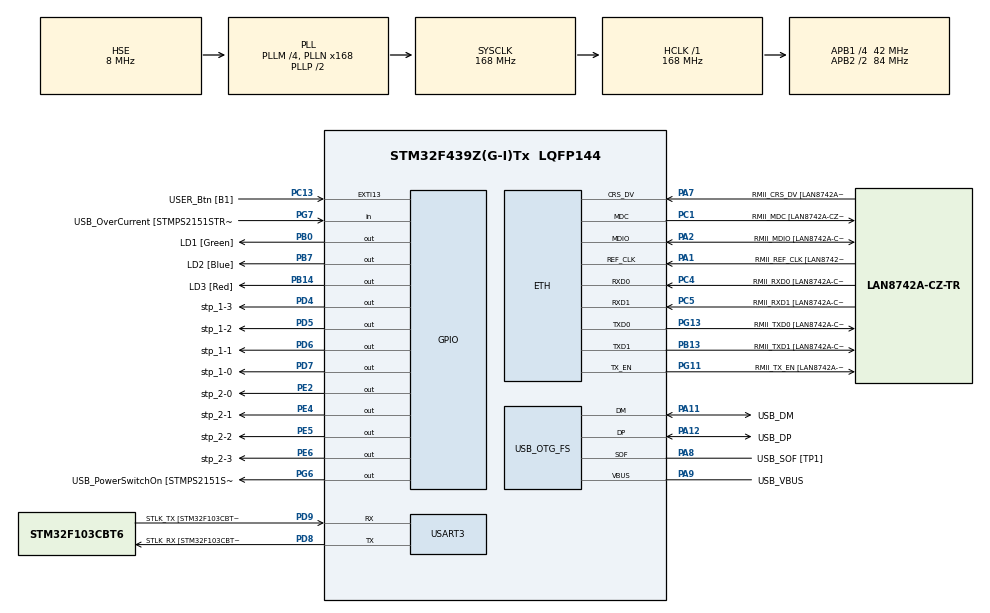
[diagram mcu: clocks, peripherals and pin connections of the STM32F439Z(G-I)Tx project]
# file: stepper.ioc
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Dma.Request0=USART3_RX
Dma.USART3_RX.0.Direction=DMA_PERIPH_TO_MEMORY
Dma.USART3_RX.0.FIFOMode=DMA_FIFOMODE_DISABLE
Dma.USART3_RX.0.Instance=DMA1_Stream1
Dma.USART3_RX.0.MemDataAlignment=DMA_MDATAALIGN_BYTE
Dma.USART3_RX.0.MemInc=DMA_MINC_ENABLE
Dma.USART3_RX.0.Mode=DMA_CIRCULAR
Dma.USART3_RX.0.PeriphDataAlignment=DMA_PDATAALIGN_BYTE
Dma.USART3_RX.0.PeriphInc=DMA_PINC_DISABLE
Dma.USART3_RX.0.Priority=DMA_PRIORITY_LOW
ETH.MediaInterface=HAL_ETH_RMII_MODE
ETH.PHY_Name=LAN8742A_PHY_ADDRESS
ETH.PHY_Value=0
ETH.PhyAddress=0
Mcu.Family=STM32F4
Mcu.Name=STM32F439Z(G-I)Tx
Mcu.Package=LQFP144
NVIC.DMA1_Stream1_IRQn=true\:0\:0\:false\:false\:true\:false\:true\:true
NVIC.PriorityGroup=NVIC_PRIORITYGROUP_4
NVIC.TIM6_DAC_IRQn=true\:0\:0\:false\:false\:true\:true\:true\:true
NVIC.TIM7_IRQn=true\:0\:0\:false\:false\:true\:true\:true\:true
PA1.GPIO_Label=RMII_REF_CLK [LAN8742A-CZ-TR_REFCLK0]
PA1.Mode=RMII
PA1.Signal=ETH_REF_CLK
PA10.GPIO_Label=USB_ID
PA10.Signal=USB_OTG_FS_ID
PA11.GPIO_Label=USB_DM
PA11.Mode=Device_Only
PA11.Signal=USB_OTG_FS_DM
PA12.GPIO_Label=USB_DP
PA12.Mode=Device_Only
PA12.Signal=USB_OTG_FS_DP
PA13.GPIO_Label=TMS
PA13.Mode=Serial_Wire
PA13.Signal=SYS_JTMS-SWDIO
PA14.GPIO_Label=TCK
PA14.Mode=Serial_Wire
PA14.Signal=SYS_JTCK-SWCLK
PA2.GPIO_Label=RMII_MDIO [LAN8742A-CZ-TR_MDIO]
PA2.Mode=RMII
PA2.Signal=ETH_MDIO
PA7.GPIO_Label=RMII_CRS_DV [LAN8742A-CZ-TR_CRS_DV]
PA7.Mode=RMII
PA7.Signal=ETH_CRS_DV
PA8.GPIO_Label=USB_SOF [TP1]
PA8.Mode=Activate_SOF_FS
PA8.Signal=USB_OTG_FS_SOF
PA9.GPIO_Label=USB_VBUS
PA9.Mode=Activate_VBUS
PA9.Signal=USB_OTG_FS_VBUS
PB0.GPIO_Label=LD1 [Green]
PB0.Signal=GPIO_Output
PB13.GPIO_Label=RMII_TXD1 [LAN8742A-CZ-TR_TXD1]
PB13.Mode=RMII
PB13.Signal=ETH_TXD1
PB14.GPIO_Label=LD3 [Red]
PB14.Signal=GPIO_Output
PB7.GPIO_Label=LD2 [Blue]
PB7.Signal=GPIO_Output
PC1.GPIO_Label=RMII_MDC [LAN8742A-CZ-TR_MDC]
PC1.Mode=RMII
PC1.Signal=ETH_MDC
PC13.GPIO_Label=USER_Btn [B1]
PC13.Signal=GPXTI13
PC14/OSC32_IN.Mode=LSE-External-Oscillator
PC14/OSC32_IN.Signal=RCC_OSC32_IN
PC15/OSC32_OUT.Mode=LSE-External-Oscillator
PC15/OSC32_OUT.Signal=RCC_OSC32_OUT
PC4.GPIO_Label=RMII_RXD0 [LAN8742A-CZ-TR_RXD0]
PC4.Mode=RMII
PC4.Signal=ETH_RXD0
PC5.GPIO_Label=RMII_RXD1 [LAN8742A-CZ-TR_RXD1]
PC5.Mode=RMII
PC5.Signal=ETH_RXD1
PD4.GPIO_Label=stp_1-3
PD4.Signal=GPIO_Output
PD5.GPIO_Label=stp_1-2
PD5.Signal=GPIO_Output
PD6.GPIO_Label=stp_1-1
PD6.Signal=GPIO_Output
PD7.GPIO_Label=stp_1-0
PD7.Signal=GPIO_Output
PD8.GPIO_Label=STLK_RX [STM32F103CBT6_PA3]
PD8.Mode=Asynchronous
PD8.Signal=USART3_TX
PD9.GPIO_Label=STLK_TX [STM32F103CBT6_PA2]
PD9.Mode=Asynchronous
PD9.Signal=USART3_RX
PE2.GPIO_Label=stp_2-0
PE2.Signal=GPIO_Output
PE4.GPIO_Label=stp_2-1
PE4.Signal=GPIO_Output
PE5.GPIO_Label=stp_2-2
PE5.Signal=GPIO_Output
PE6.GPIO_Label=stp_2-3
PE6.Signal=GPIO_Output
PG11.GPIO_Label=RMII_TX_EN [LAN8742A-CZ-TR_TXEN]
PG11.Mode=RMII
PG11.Signal=ETH_TX_EN
PG13.GPIO_Label=RMII_TXD0 [LAN8742A-CZ-TR_TXD0]
PG13.Mode=RMII
PG13.Signal=ETH_TXD0
PG6.GPIO_Label=USB_PowerSwitchOn [STMPS2151STR_EN]
PG6.Signal=GPIO_Output
PG7.GPIO_Label=USB_OverCurrent [STMPS2151STR_FAULT]
PG7.Signal=GPIO_Input
PH0/OSC_IN.GPIO_Label=MCO [STM32F103CBT6_PA8]
PH0/OSC_IN.Mode=HSE-External-Clock-Source
PH0/OSC_IN.Signal=RCC_OSC_IN
PH1/OSC_OUT.Mode=HSE-External-Clock-Source
PH1/OSC_OUT.Signal=RCC_OSC_OUT
ProjectManager.HeapSize=0x200
ProjectManager.StackSize=0x400
ProjectManager.TargetToolchain=STM32CubeIDE
RCC.48MHZClocksFreq_Value=48000000
RCC.AHBFreq_Value=168000000
RCC.APB1CLKDivider=RCC_HCLK_DIV4
RCC.APB1Freq_Value=42000000
RCC.APB1TimFreq_Value=84000000
RCC.APB2CLKDivider=RCC_HCLK_DIV2
RCC.APB2Freq_Value=84000000
RCC.APB2TimFreq_Value=168000000
RCC.CortexFreq_Value=168000000
RCC.HCLKFreq_Value=168000000
RCC.HSE_VALUE=8000000
RCC.HSI_VALUE=16000000
RCC.PLLM=4
RCC.PLLMUL=RCC_PLL_MUL9
RCC.PLLN=168
RCC.PLLQ=7
RCC.PRESCALERUSB=RCC_USBCLKSOURCE_PLL_DIV1_5
RCC.SYSCLKFreq_VALUE=168000000
RCC.SYSCLKSource=RCC_SYSCLKSOURCE_PLLCLK
RCC.SYSCLKSourceVirtual=RCC_SYSCLKSOURCE_PLLCLK
RCC.USBFreq_Value=48000000
RCC.VCOOutputFreq_Value=336000000
TIM6.Period=1000-1
TIM6.Prescaler=336-1
TIM7.Period=1000-1
TIM7.Prescaler=336-1
USART3.VirtualMode=VM_ASYNC
USB_OTG_FS.VirtualMode=Device_Only
VP_TIM6_VS_ClockSourceINT.Mode=Enable_Timer
VP_TIM7_VS_ClockSourceINT.Mode=Enable_Timer
board=NUCLEO-F439ZI

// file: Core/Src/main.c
/* USER CODE BEGIN Header */
/**
  ******************************************************************************
  * @file           : main.c
  * @brief          : Main program body
  ******************************************************************************
  * @attention
  *
  * Copyright (c) 2023 STMicroelectronics.
  * All rights reserved.
  *
  * This software is licensed under terms that can be found in the LICENSE file
  * in the root directory of this software component.
  * If no LICENSE file comes with this software, it is provided AS-IS.
  *
  ******************************************************************************
  */
/* USER CODE END Header */
#include "main.h"
#include "string.h"

/* USER CODE BEGIN Includes */
#include "stepper.h"
#include "movements_buffer.h"
#include <math.h>
#include "robot.h"
/* USER CODE END Includes */

ETH_TxPacketConfig TxConfig;
ETH_DMADescTypeDef  DMARxDscrTab[ETH_RX_DESC_CNT]; /* Ethernet Rx DMA Descriptors */
ETH_DMADescTypeDef  DMATxDscrTab[ETH_TX_DESC_CNT]; /* Ethernet Tx DMA Descriptors */

ETH_HandleTypeDef heth;

TIM_HandleTypeDef htim6;
TIM_HandleTypeDef htim7;

UART_HandleTypeDef huart3;
DMA_HandleTypeDef hdma_usart3_rx;

PCD_HandleTypeDef hpcd_USB_OTG_FS;

void SystemClock_Config(void);
static void MX_GPIO_Init(void);
static void MX_DMA_Init(void);
static void MX_ETH_Init(void);
static void MX_USART3_UART_Init(void);
static void MX_USB_OTG_FS_PCD_Init(void);
static void MX_TIM6_Init(void);
static void MX_TIM7_Init(void);

/* USER CODE BEGIN 0 */
#define UART_BUFFER_SIZE 10  // Adjust the buffer size according to your needs

// Circular buffer
uint8_t uart_rx_buffer[UART_BUFFER_SIZE];

movements_buffer_t movements_buffer_1;
movements_buffer_t movements_buffer_2;
/* USER CODE END 0 */

int main(void)
{

  /* MCU Configuration--------------------------------------------------------*/

  /* Reset of all peripherals, Initializes the Flash interface and the Systick. */
  HAL_Init();

  /* Configure the system clock */
  SystemClock_Config();

  /* Initialize all configured peripherals */
  MX_GPIO_Init();
  MX_DMA_Init();
  MX_ETH_Init();
  MX_USART3_UART_Init();
  MX_USB_OTG_FS_PCD_Init();
  MX_TIM6_Init();
  MX_TIM7_Init();

  /* Infinite loop */
  /* USER CODE BEGIN WHILE */
  // Start UART reception with DMA
  HAL_UART_Receive_DMA(&huart3, uart_rx_buffer, UART_BUFFER_SIZE);
  init_buffer(&movements_buffer_1);
  init_buffer(&movements_buffer_2);
  uint8_t value = (uint8_t)movements_buffer_1.counter;
  HAL_UART_Transmit(&huart3,&value, 1, 10);

  ROBOT robot;
  robot.current_theta_1 = 0.0;
  robot.current_theta_2 = 0.0;
  robot.l_1 = 0.08;
  robot.l_2 = 0.10;

  uint8_t direction = 0;
  if(!is_moving(0) && !is_moving(1)){
	  set_cartesian_movement(0.05, 0.05, 0.01, 0.01, 0.05, 0.05);
	  start_all_movements();
  }

  float x_coordinates[] = {0.05, 0.05, 0.1, 0.1};
  float y_coordinates[] = {0.05, 0.1, 0.1, 0.05};
  uint8_t counter = 0;
//	if(!is_moving(1)){
//		set_movement(1, M_PI_2, 1.0, 1.0);
//		start_movement(1);
//	}
  while (1)
  {
    /* USER CODE END WHILE */

    /* USER CODE BEGIN 3 */
//	HAL_GPIO_TogglePin(GPIOB, LD2_Pin);

//	if(!is_moving(0) && !is_moving(1) && !is_empty(&movements_buffer_1) && !is_empty(&movements_buffer_2)){
//		movement_t move = get_movement(&movements_buffer_1);
//		set_movement(0, move.degrees_x10, move.rpm_x10, move.direction);
//		move = get_movement(&movements_buffer_2);
//		set_movement(1, move.degrees_x10, move.rpm_x10, move.direction);
//		start_all_movements();
//	}
//    uint8_t value = (uint8_t)movements_buffer_1.counter;
//    HAL_UART_Transmit(&huart3,&value, 1, 10);
//	if(!is_moving(0) && !is_moving(1)){
//		direction = !direction;
//		if(direction){
//			set_movement(0, -M_PI_2, 1.0, 1.0);
//		}else{
//			set_movement(0, M_PI_2, 1.0, 1.0);
//		}
//		start_movement(0);
//	}
  	if(!is_moving(0) && !is_moving(1)){
		set_cartesian_movement(x_coordinates[counter], y_coordinates[counter], get_stepper_position(0), get_stepper_position(1), 0.1, 0.2);
		start_all_movements();
		counter++;
		if(counter >= 4){
			counter = 0;
		}
  	}
	HAL_Delay(10);
  }
  /* USER CODE END 3 */
}

void SystemClock_Config(void)
{
  RCC_OscInitTypeDef RCC_OscInitStruct = {0};
  RCC_ClkInitTypeDef RCC_ClkInitStruct = {0};

  /** Configure the main internal regulator output voltage
  */
  __HAL_RCC_PWR_CLK_ENABLE();
  __HAL_PWR_VOLTAGESCALING_CONFIG(PWR_REGULATOR_VOLTAGE_SCALE1);

  /** Initializes the RCC Oscillators according to the specified parameters
  * in the RCC_OscInitTypeDef structure.
  */
  RCC_OscInitStruct.OscillatorType = RCC_OSCILLATORTYPE_HSE;
  RCC_OscInitStruct.HSEState = RCC_HSE_BYPASS;
  RCC_OscInitStruct.PLL.PLLState = RCC_PLL_ON;
  RCC_OscInitStruct.PLL.PLLSource = RCC_PLLSOURCE_HSE;
  RCC_OscInitStruct.PLL.PLLM = 4;
  RCC_OscInitStruct.PLL.PLLN = 168;
  RCC_OscInitStruct.PLL.PLLP = RCC_PLLP_DIV2;
  RCC_OscInitStruct.PLL.PLLQ = 7;
  if (HAL_RCC_OscConfig(&RCC_OscInitStruct) != HAL_OK)
  {
    Error_Handler();
  }

  /** Initializes the CPU, AHB and APB buses clocks
  */
  RCC_ClkInitStruct.ClockType = RCC_CLOCKTYPE_HCLK|RCC_CLOCKTYPE_SYSCLK
                              |RCC_CLOCKTYPE_PCLK1|RCC_CLOCKTYPE_PCLK2;
  RCC_ClkInitStruct.SYSCLKSource = RCC_SYSCLKSOURCE_PLLCLK;
  RCC_ClkInitStruct.AHBCLKDivider = RCC_SYSCLK_DIV1;
  RCC_ClkInitStruct.APB1CLKDivider = RCC_HCLK_DIV4;
  RCC_ClkInitStruct.APB2CLKDivider = RCC_HCLK_DIV2;

  if (HAL_RCC_ClockConfig(&RCC_ClkInitStruct, FLASH_LATENCY_5) != HAL_OK)
  {
    Error_Handler();
  }
}

static void MX_ETH_Init(void)
{

   static uint8_t MACAddr[6];

  heth.Instance = ETH;
  MACAddr[0] = 0x00;
  MACAddr[1] = 0x80;
  MACAddr[2] = 0xE1;
  MACAddr[3] = 0x00;
  MACAddr[4] = 0x00;
  MACAddr[5] = 0x00;
  heth.Init.MACAddr = &MACAddr[0];
  heth.Init.MediaInterface = HAL_ETH_RMII_MODE;
  heth.Init.TxDesc = DMATxDscrTab;
  heth.Init.RxDesc = DMARxDscrTab;
  heth.Init.RxBuffLen = 1524;

  if (HAL_ETH_Init(&heth) != HAL_OK)
  {
    Error_Handler();
  }

  memset(&TxConfig, 0 , sizeof(ETH_TxPacketConfig));
  TxConfig.Attributes = ETH_TX_PACKETS_FEATURES_CSUM | ETH_TX_PACKETS_FEATURES_CRCPAD;
  TxConfig.ChecksumCtrl = ETH_CHECKSUM_IPHDR_PAYLOAD_INSERT_PHDR_CALC;
  TxConfig.CRCPadCtrl = ETH_CRC_PAD_INSERT;

}

static void MX_TIM6_Init(void)
{

  TIM_MasterConfigTypeDef sMasterConfig = {0};

  htim6.Instance = TIM6;
  htim6.Init.Prescaler = 336-1;
  htim6.Init.CounterMode = TIM_COUNTERMODE_UP;
  htim6.Init.Period = 1000-1;
  htim6.Init.AutoReloadPreload = TIM_AUTORELOAD_PRELOAD_DISABLE;
  if (HAL_TIM_Base_Init(&htim6) != HAL_OK)
  {
    Error_Handler();
  }
  sMasterConfig.MasterOutputTrigger = TIM_TRGO_RESET;
  sMasterConfig.MasterSlaveMode = TIM_MASTERSLAVEMODE_DISABLE;
  if (HAL_TIMEx_MasterConfigSynchronization(&htim6, &sMasterConfig) != HAL_OK)
  {
    Error_Handler();
  }

}

static void MX_TIM7_Init(void)
{

  TIM_MasterConfigTypeDef sMasterConfig = {0};

  htim7.Instance = TIM7;
  htim7.Init.Prescaler = 336-1;
  htim7.Init.CounterMode = TIM_COUNTERMODE_UP;
  htim7.Init.Period = 1000-1;
  htim7.Init.AutoReloadPreload = TIM_AUTORELOAD_PRELOAD_DISABLE;
  if (HAL_TIM_Base_Init(&htim7) != HAL_OK)
  {
    Error_Handler();
  }
  sMasterConfig.MasterOutputTrigger = TIM_TRGO_RESET;
  sMasterConfig.MasterSlaveMode = TIM_MASTERSLAVEMODE_DISABLE;
  if (HAL_TIMEx_MasterConfigSynchronization(&htim7, &sMasterConfig) != HAL_OK)
  {
    Error_Handler();
  }

}

static void MX_USART3_UART_Init(void)
{

  huart3.Instance = USART3;
  huart3.Init.BaudRate = 115200;
  huart3.Init.WordLength = UART_WORDLENGTH_8B;
  huart3.Init.StopBits = UART_STOPBITS_1;
  huart3.Init.Parity = UART_PARITY_NONE;
  huart3.Init.Mode = UART_MODE_TX_RX;
  huart3.Init.HwFlowCtl = UART_HWCONTROL_NONE;
  huart3.Init.OverSampling = UART_OVERSAMPLING_16;
  if (HAL_UART_Init(&huart3) != HAL_OK)
  {
    Error_Handler();
  }

}

static void MX_USB_OTG_FS_PCD_Init(void)
{

  hpcd_USB_OTG_FS.Instance = USB_OTG_FS;
  hpcd_USB_OTG_FS.Init.dev_endpoints = 4;
  hpcd_USB_OTG_FS.Init.speed = PCD_SPEED_FULL;
  hpcd_USB_OTG_FS.Init.dma_enable = DISABLE;
  hpcd_USB_OTG_FS.Init.phy_itface = PCD_PHY_EMBEDDED;
  hpcd_USB_OTG_FS.Init.Sof_enable = ENABLE;
  hpcd_USB_OTG_FS.Init.low_power_enable = DISABLE;
  hpcd_USB_OTG_FS.Init.lpm_enable = DISABLE;
  hpcd_USB_OTG_FS.Init.vbus_sensing_enable = ENABLE;
  hpcd_USB_OTG_FS.Init.use_dedicated_ep1 = DISABLE;
  if (HAL_PCD_Init(&hpcd_USB_OTG_FS) != HAL_OK)
  {
    Error_Handler();
  }

}

static void MX_DMA_Init(void)
{

  /* DMA controller clock enable */
  __HAL_RCC_DMA1_CLK_ENABLE();

  /* DMA interrupt init */
  /* DMA1_Stream1_IRQn interrupt configuration */
  HAL_NVIC_SetPriority(DMA1_Stream1_IRQn, 0, 0);
  HAL_NVIC_EnableIRQ(DMA1_Stream1_IRQn);

}

static void MX_GPIO_Init(void)
{
  GPIO_InitTypeDef GPIO_InitStruct = {0};

  /* GPIO Ports Clock Enable */
  __HAL_RCC_GPIOE_CLK_ENABLE();
  __HAL_RCC_GPIOC_CLK_ENABLE();
  __HAL_RCC_GPIOH_CLK_ENABLE();
  __HAL_RCC_GPIOA_CLK_ENABLE();
  __HAL_RCC_GPIOB_CLK_ENABLE();
  __HAL_RCC_GPIOD_CLK_ENABLE();
  __HAL_RCC_GPIOG_CLK_ENABLE();

  /*Configure GPIO pin Output Level */
  HAL_GPIO_WritePin(GPIOE, stp_2_0_Pin|stp_2_1_Pin|stp_2_2_Pin|stp_2_3_Pin, GPIO_PIN_RESET);

  /*Configure GPIO pin Output Level */
  HAL_GPIO_WritePin(GPIOB, LD1_Pin|LD3_Pin|LD2_Pin, GPIO_PIN_RESET);

  /*Configure GPIO pin Output Level */
  HAL_GPIO_WritePin(USB_PowerSwitchOn_GPIO_Port, USB_PowerSwitchOn_Pin, GPIO_PIN_RESET);

  /*Configure GPIO pin Output Level */
  HAL_GPIO_WritePin(GPIOD, stp_1_3_Pin|stp_1_2_Pin|stp_1_1_Pin|stp_1_0_Pin, GPIO_PIN_RESET);

  /*Configure GPIO pins : stp_2_0_Pin stp_2_1_Pin stp_2_2_Pin stp_2_3_Pin */
  GPIO_InitStruct.Pin = stp_2_0_Pin|stp_2_1_Pin|stp_2_2_Pin|stp_2_3_Pin;
  GPIO_InitStruct.Mode = GPIO_MODE_OUTPUT_PP;
  GPIO_InitStruct.Pull = GPIO_NOPULL;
  GPIO_InitStruct.Speed = GPIO_SPEED_FREQ_LOW;
  HAL_GPIO_Init(GPIOE, &GPIO_InitStruct);

  /*Configure GPIO pin : USER_Btn_Pin */
  GPIO_InitStruct.Pin = USER_Btn_Pin;
  GPIO_InitStruct.Mode = GPIO_MODE_IT_RISING;
  GPIO_InitStruct.Pull = GPIO_NOPULL;
  HAL_GPIO_Init(USER_Btn_GPIO_Port, &GPIO_InitStruct);

  /*Configure GPIO pins : LD1_Pin LD3_Pin LD2_Pin */
  GPIO_InitStruct.Pin = LD1_Pin|LD3_Pin|LD2_Pin;
  GPIO_InitStruct.Mode = GPIO_MODE_OUTPUT_PP;
  GPIO_InitStruct.Pull = GPIO_NOPULL;
  GPIO_InitStruct.Speed = GPIO_SPEED_FREQ_LOW;
  HAL_GPIO_Init(GPIOB, &GPIO_InitStruct);

  /*Configure GPIO pin : USB_PowerSwitchOn_Pin */
  GPIO_InitStruct.Pin = USB_PowerSwitchOn_Pin;
  GPIO_InitStruct.Mode = GPIO_MODE_OUTPUT_PP;
  GPIO_InitStruct.Pull = GPIO_NOPULL;
  GPIO_InitStruct.Speed = GPIO_SPEED_FREQ_LOW;
  HAL_GPIO_Init(USB_PowerSwitchOn_GPIO_Port, &GPIO_InitStruct);

  /*Configure GPIO pin : USB_OverCurrent_Pin */
  GPIO_InitStruct.Pin = USB_OverCurrent_Pin;
  GPIO_InitStruct.Mode = GPIO_MODE_INPUT;
  GPIO_InitStruct.Pull = GPIO_NOPULL;
  HAL_GPIO_Init(USB_OverCurrent_GPIO_Port, &GPIO_InitStruct);

  /*Configure GPIO pins : stp_1_3_Pin stp_1_2_Pin stp_1_1_Pin stp_1_0_Pin */
  GPIO_InitStruct.Pin = stp_1_3_Pin|stp_1_2_Pin|stp_1_1_Pin|stp_1_0_Pin;
  GPIO_InitStruct.Mode = GPIO_MODE_OUTPUT_PP;
  GPIO_InitStruct.Pull = GPIO_NOPULL;
  GPIO_InitStruct.Speed = GPIO_SPEED_FREQ_LOW;
  HAL_GPIO_Init(GPIOD, &GPIO_InitStruct);

}

/* USER CODE BEGIN 4 */

void HAL_TIM_PeriodElapsedCallback(TIM_HandleTypeDef* htim)
{
//	HAL_GPIO_WritePin(GPIOB, LD2_Pin, 1);
	stepper_interrupt_call(htim);
//	HAL_GPIO_WritePin(GPIOB, LD2_Pin, 0);
}

void HAL_UART_RxCpltCallback(UART_HandleTypeDef *huart)
{
//	HAL_GPIO_TogglePin(GPIOB, LD2_Pin);
    if (huart == &huart3)
    {
		if(!is_full(&movements_buffer_1)){
	    	uint16_t degrees = ((uint16_t)uart_rx_buffer[0]) | (((uint16_t)uart_rx_buffer[1]) << 8);
	    	uint16_t rpm = ((uint16_t)uart_rx_buffer[2]) | (((uint16_t)uart_rx_buffer[3]) << 8);
			uint8_t direction = uart_rx_buffer[4];
	    	movement_t movement = {.degrees_x10=degrees, .rpm_x10=rpm, .direction=direction};
	    	add_movement(&movements_buffer_1, movement);
//			uint8_t value = (uint8_t)movements_buffer.counter;
//			HAL_UART_Transmit(&huart3,&value, 1, 10);
		}

		if(!is_full(&movements_buffer_2)){
	    	uint16_t degrees = ((uint16_t)uart_rx_buffer[5]) | (((uint16_t)uart_rx_buffer[6]) << 8);
	    	uint16_t rpm = ((uint16_t)uart_rx_buffer[7]) | (((uint16_t)uart_rx_buffer[8]) << 8);
			uint8_t direction = uart_rx_buffer[9];
	    	movement_t movement = {.degrees_x10=degrees, .rpm_x10=rpm, .direction=direction};
	    	add_movement(&movements_buffer_2, movement);
//			uint8_t value = (uint8_t)movements_buffer.counter;
//			HAL_UART_Transmit(&huart3,&value, 1, 10);
		}
    }
}

/* USER CODE END 4 */

void Error_Handler(void)
{
  __disable_irq();
  while (1)
  {
  }
}
